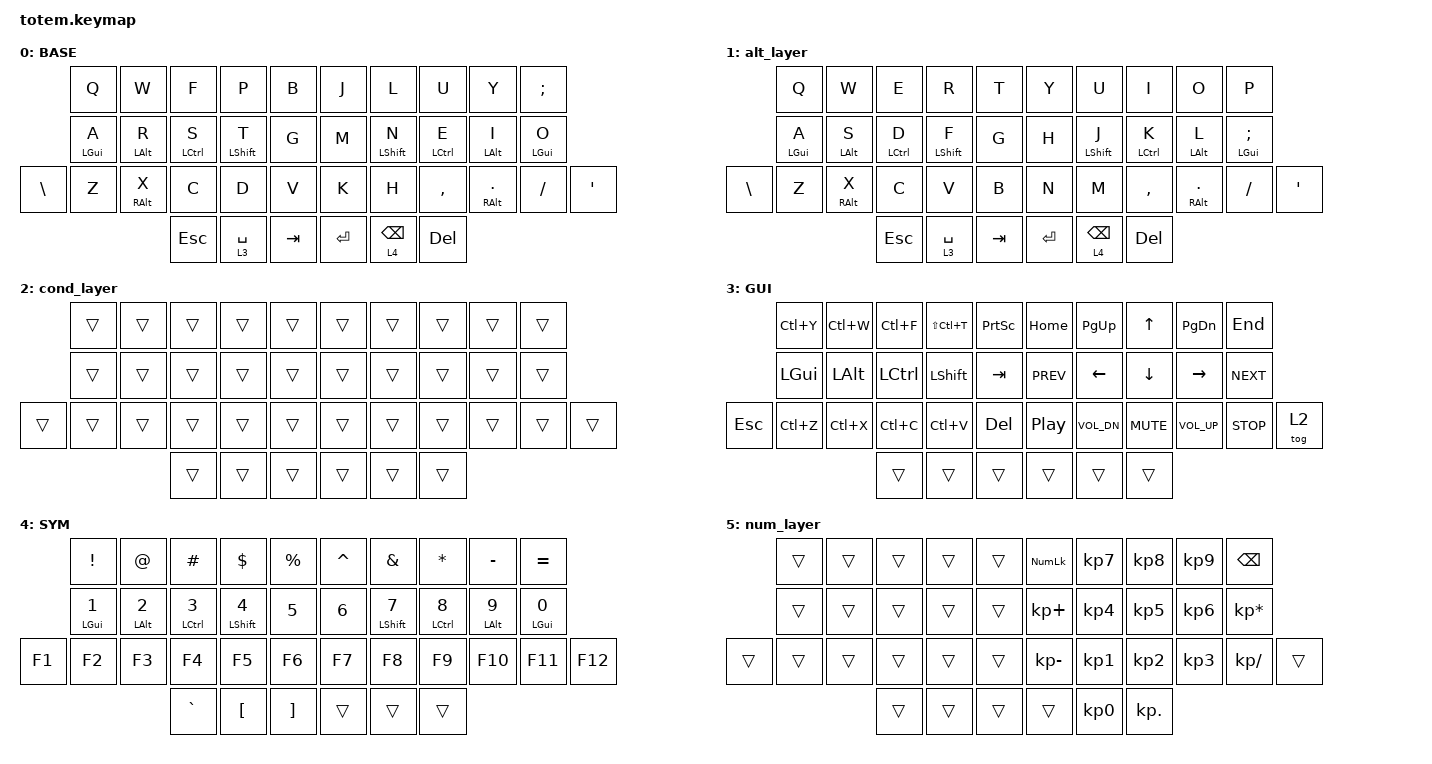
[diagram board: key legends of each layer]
//
//                                                        ▀▀▀▀▀     ▀▀▀▀▀          ▀▀█▀▀
//                                                        ▄▀▀▀▄  ▄  ▄▀▀▀▄  ▄  ▄▀▀▀▄  █  ▄▀▀▀▄
//                                                        █   █  █  █   █  █  █   █  █  █   █
//                                                         ▀▀▀   █   ▀▀▀   █   ▀▀▀   ▀   ▀▀▀
//                                                               █      ▄▄▄█▄▄▄    █   █  
//                                                               ▀      █  █  █     █▄█
//                                                             ▀▀▀▀▀    █  █  █      ▀
//                                                                      ▀  ▀  ▀
//
// ▄▄▄▄▄▄▄▄▄▄▄▄▄▄▄▄▄▄▄▄▄▄▄▄▄▄▄▄▄▄▄▄▄▄▄▄▄▄▄▄▄▄▄▄▄▄▄▄▄▄▄▄▄▄▄▄▄▄▄▄▄▄▄▄▄▄▄▄▄▄▄▄▄▄▄▄▄▄▄▄▄▄▄▄▄▄▄▄▄▄▄▄▄▄▄▄▄▄▄▄▄▄▄▄▄▄▄▄▄▄▄▄▄▄▄▄▄▄▄▄▄▄▄▄▄▄▄▄▄▄▄▄▄▄▄▄▄▄▄▄▄▄▄▄▄▄▄▄▄

#include <behaviors.dtsi>
#include <dt-bindings/zmk/bt.h>
#include <dt-bindings/zmk/keys.h>

#define BASE 0
#define NAV  1
#define SYM  2
#define ADJ  3
#define TVP1 4
#define TVP2 5

&mt {
    quick-tap-ms = <100>;
    global-quick-tap;
    flavor = "balanced";
    tapping-term-ms = <500>;
};

/ {
    combos {
        compatible = "zmk,combos";

        btclear {
            bindings = <&bt BT_CLR>;
            key-positions = <20 31>;
        };

        sleep {
            bindings = <&soft_off>;
            key-positions = <20 31 35 34>;
        };

        btprev {
            bindings = <&bt BT_PRV>;
            key-positions = <32 33 34>;
        };

        btnext {
            bindings = <&bt BT_NXT>;
            key-positions = <35 36 37>;
        };

        qwerty {
            bindings = <&tog 1>;
            key-positions = <3 2 1 6 7 8>;
        };
    };

    keymap {
        compatible = "zmk,keymap";

        // ▄▄▄▄▄▄▄▄▄▄▄▄▄▄▄▄▄▄▄▄▄▄▄▄▄▄▄▄▄▄▄▄▄▄▄▄▄▄▄▄▄▄▄▄▄▄▄▄▄▄▄▄▄▄▄▄▄▄▄▄▄▄▄▄▄▄▄▄▄▄▄▄▄▄▄▄▄▄▄▄▄▄▄▄▄▄▄▄▄▄▄▄▄▄▄▄▄▄▄▄▄▄▄▄▄▄▄▄▄▄▄▄▄▄▄▄▄▄▄▄▄▄▄▄▄▄▄▄▄▄▄▄▄▄▄▄▄▄▄▄▄▄▄▄▄▄▄▄▄

        base_layer {
            // ┏━━━━━━━━━━━━━━━━━━━━━━━━━━━━━━━━━━━━━━━┓

            label = "BASE";

            // ┗━━━━━━━━━━━━━━━━━━━━━━━━━━━━━━━━━━━━━━━┛
            //             ┏━━━━━━━━━━━┳━━━━━━━━━━━┳━━━━━━━━━━━┳━━━━━━━━━━━┳━━━━━━━━━━━┓   ┏━━━━━━━━━━━┳━━━━━━━━━━━┳━━━━━━━━━━━┳━━━━━━━━━━━┳━━━━━━━━━━━┓
            //             ┃     Q     ┃     W     ┃     F     ┃     P     ┃     G     ┃   ┃     J     ┃     L     ┃     U     ┃     Y     ┃     ;     ┃
            //             ┣━━━━━━━━━━━╋━━━━━━━━━━━╋━━━━━━━━━━━╋━━━━━━━━━━━╋━━━━━━━━━━━┫   ┣━━━━━━━━━━━╋━━━━━━━━━━━╋━━━━━━━━━━━╋━━━━━━━━━━━╋━━━━━━━━━━━┫
            //             ┃     A     ┃     R     ┃     S     ┃     T     ┃     D     ┃   ┃     H     ┃     N     ┃     E     ┃     I     ┃     O     ┃
            // ┏━━━━━━━━━━━╋━━━━━━━━━━━╋━━━━━━━━━━━╋━━━━━━━━━━━╋━━━━━━━━━━━╋━━━━━━━━━━━┫   ┣━━━━━━━━━━━╋━━━━━━━━━━━╋━━━━━━━━━━━╋━━━━━━━━━━━╋━━━━━━━━━━━╋━━━━━━━━━━━┓
            // ┃     Q     ┃     Z     ┃     X     ┃     C     ┃     V     ┃     B     ┃   ┃     K     ┃     M     ┃     ,     ┃     .     ┃     /     ┃     \     ┃
            // ┗━━━━━━━━━━━┻━━━━━━━━━━━┻━━━━━━━━━━━╋━━━━━━━━━━━╋━━━━━━━━━━━╋━━━━━━━━━━━┫   ┣━━━━━━━━━━━╋━━━━━━━━━━━╋━━━━━━━━━━━╋━━━━━━━━━━━┻━━━━━━━━━━━┻━━━━━━━━━━━┛
            //                                     ┃    DEL    ┃    TAB    ┃    SPC    ┃   ┃   ENTER   ┃           ┃   BSPC    ┃
            //                                     ┗━━━━━━━━━━━┻━━━━━━━━━━━┻━━━━━━━━━━━┛   ┗━━━━━━━━━━━┻━━━━━━━━━━━┻━━━━━━━━━━━┛

            bindings = <
          &kp Q           &kp W            &kp F               &kp P             &kp B      &kp J    &kp L             &kp U        &kp Y              &kp SEMI
          &mt LEFT_GUI A  &mt LEFT_ALT R   &mt LEFT_CONTROL S  &mt LEFT_SHIFT T  &kp G      &kp M    &mt LEFT_SHIFT N  &mt LCTRL E  &mt LEFT_ALT I     &mt LEFT_GUI O
&kp BSLH  &kp Z           &mt RIGHT_ALT X  &kp C               &kp D             &kp V      &kp K    &kp H             &kp COMMA    &mt RIGHT_ALT DOT  &kp FSLH        &kp SQT
                                           &kp ESC             &lt 3 SPACE       &kp TAB    &kp RET  &lt 4 BACKSPACE   &kp DELETE
            >;
        };

        alt_layer {
            bindings = <
          &kp Q       &kp W            &kp E        &kp R             &kp T      &kp Y      &kp U             &kp I        &kp O              &kp P
          &mt LGUI A  &mt LALT S       &mt LCTRL D  &mt LEFT_SHIFT F  &kp G      &kp H      &mt LEFT_SHIFT J  &mt LCTRL K  &mt LEFT_ALT L     &mt LGUI SEMI
&kp BSLH  &kp Z       &mt RIGHT_ALT X  &kp C        &kp V             &kp B      &kp N      &kp M             &kp COMMA    &mt RIGHT_ALT DOT  &kp FSLH       &kp APOS
                                       &kp ESC      &lt 3 SPACE       &kp TAB    &kp ENTER  &lt 4 BACKSPACE   &kp DELETE
            >;
        };

        cond_layer {
            bindings = <
        &trans  &trans  &trans  &trans  &trans    &trans  &trans  &trans  &trans  &trans
        &trans  &trans  &trans  &trans  &trans    &trans  &trans  &trans  &trans  &trans
&trans  &trans  &trans  &trans  &trans  &trans    &trans  &trans  &trans  &trans  &trans  &trans
                        &trans  &trans  &trans    &trans  &trans  &trans
            >;
        };

        gui_layer {
            // ┏━━━━━━━━━━━━━━━━━━━━━━━━━━━━━━━━━━━━━━━┓

            label = "GUI";

            // ┗━━━━━━━━━━━━━━━━━━━━━━━━━━━━━━━━━━━━━━━┛
            //             ┏━━━━━━━━━━━┳━━━━━━━━━━━┳━━━━━━━━━━━┳━━━━━━━━━━━┳━━━━━━━━━━━┓   ┏━━━━━━━━━━━┳━━━━━━━━━━━┳━━━━━━━━━━━┳━━━━━━━━━━━┳━━━━━━━━━━━┓
            //             ┃           ┃           ┃     UP    ┃           ┃     {     ┃   ┃     }     ┃     7     ┃     8     ┃     9     ┃     +     ┃
            //             ┣━━━━━━━━━━━╋━━━━━━━━━━━╋━━━━━━━━━━━╋━━━━━━━━━━━╋━━━━━━━━━━━┫   ┣━━━━━━━━━━━╋━━━━━━━━━━━╋━━━━━━━━━━━╋━━━━━━━━━━━╋━━━━━━━━━━━┫
            //             ┃   SHIFT   ┃   LEFT    ┃    DOWN   ┃   RIGHT   ┃     [     ┃   ┃     ]     ┃     4     ┃     5     ┃     6     ┃     -     ┃
            // ┏━━━━━━━━━━━╋━━━━━━━━━━━╋━━━━━━━━━━━╋━━━━━━━━━━━╋━━━━━━━━━━━╋━━━━━━━━━━━┫   ┣━━━━━━━━━━━╋━━━━━━━━━━━╋━━━━━━━━━━━╋━━━━━━━━━━━╋━━━━━━━━━━━╋━━━━━━━━━━━┓
            // ┃           ┃           ┃   P UP    ┃  C LOCK   ┃  P DOWN   ┃     (     ┃   ┃     )     ┃     1     ┃     2     ┃     3     ┃     *     ┃           ┃
            // ┗━━━━━━━━━━━┻━━━━━━━━━━━┻━━━━━━━━━━━╋━━━━━━━━━━━╋━━━━━━━━━━━╋━━━━━━━━━━━┫   ┣━━━━━━━━━━━╋━━━━━━━━━━━╋━━━━━━━━━━━╋━━━━━━━━━━━┻━━━━━━━━━━━┻━━━━━━━━━━━┛
            //                                     ┃           ┃    TAB    ┃    SPC    ┃   ┃    DEL    ┃     0     ┃           ┃
            //                                     ┗━━━━━━━━━━━┻━━━━━━━━━━━┻━━━━━━━━━━━┛   ┗━━━━━━━━━━━┻━━━━━━━━━━━┻━━━━━━━━━━━┛

            bindings = <
            &kp LC(Y)     &kp LC(W)     &kp LC(F)  &kp LS(LC(T))   &kp PRINTSCREEN    &kp HOME          &kp PG_UP     &kp UP      &kp PG_DN     &kp END
            &kp LEFT_GUI  &kp LEFT_ALT  &kp LCTRL  &kp LEFT_SHIFT  &kp TAB            &kp C_PREV        &kp LEFT      &kp DOWN    &kp RIGHT     &kp C_NEXT
&kp ESCAPE  &kp LC(Z)     &kp LC(X)     &kp LC(C)  &kp LC(V)       &kp DEL            &kp C_PLAY_PAUSE  &kp C_VOL_DN  &kp K_MUTE  &kp C_VOL_UP  &kp C_STOP  &tog 2
                                        &trans     &trans          &trans             &trans            &trans        &trans
            >;
        };

        sim_layer {
            // ┏━━━━━━━━━━━━━━━━━━━━━━━━━━━━━━━━━━━━━━━┓

            label = "SYM";

            // ┗━━━━━━━━━━━━━━━━━━━━━━━━━━━━━━━━━━━━━━━┛
            //             ┏━━━━━━━━━━━┳━━━━━━━━━━━┳━━━━━━━━━━━┳━━━━━━━━━━━┳━━━━━━━━━━━┓   ┏━━━━━━━━━━━┳━━━━━━━━━━━┳━━━━━━━━━━━┳━━━━━━━━━━━┳━━━━━━━━━━━┓
            //             ┃     !     ┃     @     ┃     #     ┃     $     ┃     %     ┃   ┃     ˆ     ┃     &     ┃     Ü     ┃     '     ┃     "     ┃
            //             ┣━━━━━━━━━━━╋━━━━━━━━━━━╋━━━━━━━━━━━╋━━━━━━━━━━━╋━━━━━━━━━━━┫   ┣━━━━━━━━━━━╋━━━━━━━━━━━╋━━━━━━━━━━━╋━━━━━━━━━━━╋━━━━━━━━━━━┫
            //             ┃     Ä     ┃           ┃    SZ     ┃           ┃           ┃   ┃   MUTE    ┃   YEN     ┃   EURO    ┃  POUND    ┃     Ö     ┃
            // ┏━━━━━━━━━━━╋━━━━━━━━━━━╋━━━━━━━━━━━╋━━━━━━━━━━━╋━━━━━━━━━━━╋━━━━━━━━━━━┫   ┣━━━━━━━━━━━╋━━━━━━━━━━━╋━━━━━━━━━━━╋━━━━━━━━━━━╋━━━━━━━━━━━╋━━━━━━━━━━━┓
            // ┃           ┃  EMAIL1   ┃  EMAIL2   ┃           ┃           ┃           ┃   ┃   VOL-    ┃   VOL+    ┃   LAST    ┃   NEXT    ┃     \     ┃           ┃
            // ┗━━━━━━━━━━━┻━━━━━━━━━━━┻━━━━━━━━━━━╋━━━━━━━━━━━╋━━━━━━━━━━━╋━━━━━━━━━━━┫   ┣━━━━━━━━━━━╋━━━━━━━━━━━╋━━━━━━━━━━━╋━━━━━━━━━━━┻━━━━━━━━━━━┻━━━━━━━━━━━┛
            //                                     ┃           ┃    GIF    ┃    ADJ    ┃   ┃           ┃           ┃           ┃
            //                                     ┗━━━━━━━━━━━┻━━━━━━━━━━━┻━━━━━━━━━━━┛   ┗━━━━━━━━━━━┻━━━━━━━━━━━┻━━━━━━━━━━━┛

            bindings = <
        &kp EXCL               &kp AT                 &kp HASH            &kp DOLLAR               &kp PERCENT          &kp CARET  &kp AMPERSAND            &kp ASTRK           &kp MINUS              &kp EQUAL
        &mt LEFT_GUI NUMBER_1  &mt LEFT_ALT NUMBER_2  &mt LCTRL NUMBER_3  &mt LEFT_SHIFT NUMBER_4  &kp N5               &kp N6     &mt LEFT_SHIFT NUMBER_7  &mt LCTRL NUMBER_8  &mt LEFT_ALT NUMBER_9  &mt LEFT_GUI NUMBER_0
&kp F1  &kp F2                 &kp F3                 &kp F4              &kp F5                   &kp F6               &kp F7     &kp F8                   &kp F9              &kp F10                &kp F11                &kp F12
                                                      &kp GRAVE           &kp LEFT_BRACKET         &kp RIGHT_BRACKET    &trans     &trans                   &trans
            >;
        };

        num_layer {
            bindings = <
        &trans  &trans  &trans  &trans  &trans    &kp KP_NUMLOCK  &kp KP_N7  &kp KP_N8   &kp KP_N9  &kp BACKSPACE
        &trans  &trans  &trans  &trans  &trans    &kp KP_PLUS     &kp KP_N4  &kp KP_N5   &kp KP_N6  &kp KP_MULTIPLY
&trans  &trans  &trans  &trans  &trans  &trans    &kp KP_MINUS    &kp KP_N1  &kp KP_N2   &kp KP_N3  &kp KP_DIVIDE    &trans
                        &trans  &trans  &trans    &trans          &kp KP_N0  &kp KP_DOT
            >;
        };

        // ▄▄▄▄▄▄▄▄▄▄▄▄▄▄▄▄▄▄▄▄▄▄▄▄▄▄▄▄▄▄▄▄▄▄▄▄▄▄▄▄▄▄▄▄▄▄▄▄▄▄▄▄▄▄▄▄▄▄▄▄▄▄▄▄▄▄▄▄▄▄▄▄▄▄▄▄▄▄▄▄▄▄▄▄▄▄▄▄▄▄▄▄▄▄▄▄▄▄▄▄▄▄▄▄▄▄▄▄▄▄▄▄▄▄▄▄▄▄▄▄▄▄▄▄▄▄▄▄▄▄▄▄▄▄▄▄▄▄▄▄▄▄▄▄▄▄▄▄▄
        // ▄▄▄▄▄▄▄▄▄▄▄▄▄▄▄▄▄▄▄▄▄▄▄▄▄▄▄▄▄▄▄▄▄▄▄▄▄▄▄▄▄▄▄▄▄▄▄▄▄▄▄▄▄▄▄▄▄▄▄▄▄▄▄▄▄▄▄▄▄▄▄▄▄▄▄▄▄▄▄▄▄▄▄▄▄▄▄▄▄▄▄▄▄▄▄▄▄▄▄▄▄▄▄▄▄▄▄▄▄▄▄▄▄▄▄▄▄▄▄▄▄▄▄▄▄▄▄▄▄▄▄▄▄▄▄▄▄▄▄▄▄▄▄▄▄▄▄▄▄
    };

    conditional_layers {
        compatible = "zmk,conditional-layers";

        numpad {
            if-layers = <3 2>;
            then-layer = <5>;
        };
    };
};
